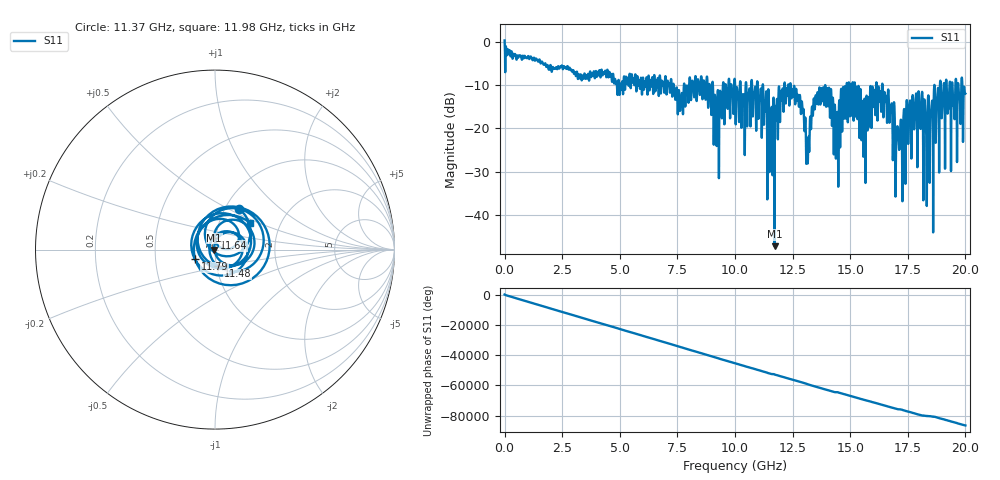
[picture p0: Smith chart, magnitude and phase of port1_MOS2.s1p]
! MS46122B
! 2250307/22442219
! 7/28/2025 7:59:15 AM
! C:\USERS\SPARKY\DOCUMENTS\VNA_DATA\JULY28_2025\295K\PORT1_MOS2.S1P
! CHANNEL.1
! TR.MEASUREMENT
! RAW.DATA
# GHZ S RI R 50.0
! FREQ.GHZ  S11RE  S11IM
!; PortSelection: Port_1
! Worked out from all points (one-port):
!   10001 points, 1 MHz to 20 GHz, reference 50 ohm
!   lowest |S11| = -47.3 dB at 11.72 GHz (marker M1), VSWR 1.01, Z = 49.6 - j0.176 ohm
!   |S11| at or under -10 dB: 11.22 GHz to 12.14 GHz (924.8 MHz wide, 7.92 % of centre); 12.42 GHz to 13.91 GHz (1.492 GHz wide, 11.3 % of centre); 16.41 GHz to 18.65 GHz (2.244 GHz wide, 12.8 % of centre) (the widest 3 of 67)
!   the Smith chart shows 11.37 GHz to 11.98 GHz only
!   S11 on the Smith chart (normalised r, x): 11.37 GHz: 1.16, +0.57; 11.48 GHz: 1.01, -0.19; 11.64 GHz: 0.98, +0.13; 11.79 GHz: 0.79, -0.09; 11.98 GHz: 1.41, +0.44
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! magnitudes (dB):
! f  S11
! 1 MHz  0.4
! 2.501 GHz  -5.6
! 5.001 GHz  -11.7
! 7.501 GHz  -13.9
! 8.713 GHz  -12.1
! 9.235 GHz  -13.2
! 10 GHz  -9.4
! 11.37 GHz  -11.6
! 11.48 GHz  -20.5
! 11.64 GHz  -23.7
! 11.72 GHz  -47.3
! 11.79 GHz  -18.1
! 11.98 GHz  -12.2
! 12.5 GHz  -11.3
! 12.89 GHz  -13.9
! 13.16 GHz  -28.0
! 13.59 GHz  -11.7
! 14.09 GHz  -10.7
! 14.39 GHz  -25.1
! 15 GHz  -13.0
! 15.58 GHz  -23.4
! 16.47 GHz  -12.5
! 17.05 GHz  -19.5
! 17.5 GHz  -19.5
! 18.04 GHz  -19.5
! 18.37 GHz  -13.2
! 18.99 GHz  -15.6
! 20 GHz  -11.9
